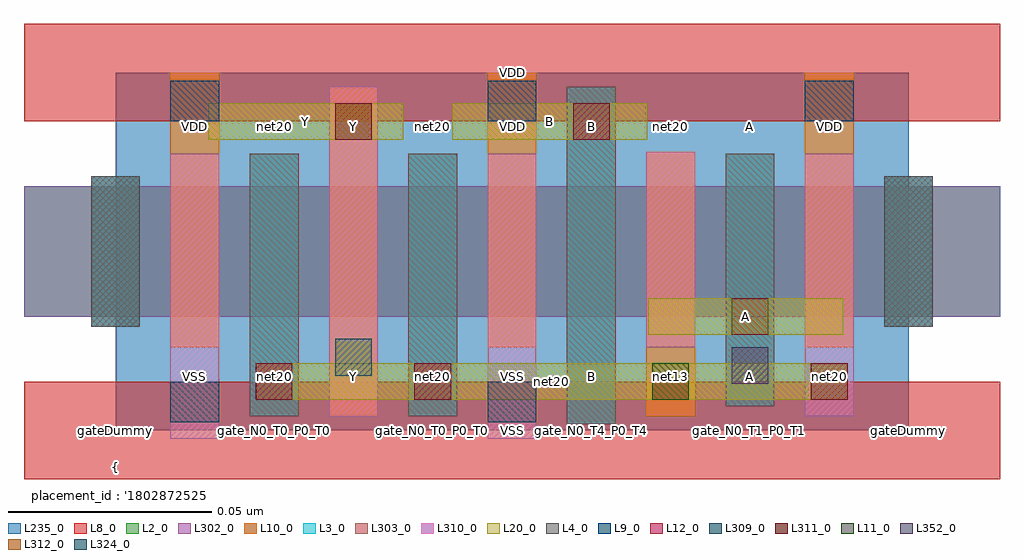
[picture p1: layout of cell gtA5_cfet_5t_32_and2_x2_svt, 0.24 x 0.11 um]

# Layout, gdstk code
import gdstk
lib = gdstk.Library(unit=1e-6, precision=2.5e-10)
def R(c, l, rs):  # rectangles x0, y0, x1, y1
    for r in rs: c.add(gdstk.rectangle(r[:2], r[2:], *l))
def A(c, l, x, y, w, h, nx, ny, dx, dy):  # array of equal rectangles
    R(c, l, [(x+i*dx, y+j*dy, x+i*dx+w, y+j*dy+h) for i in range(nx) for j in range(ny)])
L2_0 = (2, 0)
L3_0 = (3, 0)
L4_0 = (4, 0)
L8_0 = (8, 0)
L9_0 = (9, 0)
L10_0 = (10, 0)
L11_0 = (11, 0)
L12_0 = (12, 0)
L20_0 = (20, 0)
L235_0 = (235, 0)
L302_0 = (302, 0)
L303_0 = (303, 0)
L309_0 = (309, 0)
L310_0 = (310, 0)
L311_0 = (311, 0)
L312_0 = (312, 0)
L324_0 = (324, 0)
L352_0 = (352, 0)

gta5_cfet_5t_32_and2_x2_ = lib.new_cell('gtA5_cfet_5t_32_and2_x2_svt')
R(gta5_cfet_5t_32_and2_x2_, L2_0, [(-0.0225,0.028,0.2175,0.06)])
R(gta5_cfet_5t_32_and2_x2_, L3_0, [(0.111,0.0015,0.123,0.0845), (0.033,0.0035,0.045,0.068), (0.072,0.0035,0.084,0.068), (0.15,0.006,0.162,0.068), (-0.006,0.0255,0.006,0.0625), (0.189,0.0255,0.201,0.0625)])
R(gta5_cfet_5t_32_and2_x2_, L4_0, [(-0.006,0.0255,0.006,0.0625), (0.189,0.0255,0.201,0.0625)])
R(gta5_cfet_5t_32_and2_x2_, L8_0, [(-0.0225,-0.012,0.2175,0.012), (-0.0225,0.076,0.2175,0.1)])
A(gta5_cfet_5t_32_and2_x2_, L9_0, 0.0135, 0.076, 0.012, 0.01, 3, 1, 0.078, 0)
A(gta5_cfet_5t_32_and2_x2_, L10_0, 0.0135, 0.0205, 0.012, 0.0675, 3, 1, 0.078, 0)
R(gta5_cfet_5t_32_and2_x2_, L10_0, [(0.0525,0.0035,0.0645,0.0845), (0.1305,0.0035,0.1425,0.0685)])
R(gta5_cfet_5t_32_and2_x2_, L11_0, [(0.132,0.0075,0.141,0.0165)])
R(gta5_cfet_5t_32_and2_x2_, L12_0, [(0.0345,0.0075,0.0435,0.0165), (0.0735,0.0075,0.0825,0.0165), (0.1125,0.0715,0.1215,0.0805)])
R(gta5_cfet_5t_32_and2_x2_, L20_0, [(0.0345,0.0075,0.18,0.0165), (0.131,0.0235,0.179,0.0325), (0.0227,0.0715,0.0708,0.0805), (0.0828,0.0715,0.1308,0.0805)])
R(gta5_cfet_5t_32_and2_x2_, L235_0, [(0,0,0.195,0.088)])
R(gta5_cfet_5t_32_and2_x2_, L302_0, [(-0.0225,0.028,0.2175,0.06)])
R(gta5_cfet_5t_32_and2_x2_, L303_0, [(0.111,0.0015,0.123,0.0845), (0.033,0.0035,0.045,0.068), (0.072,0.0035,0.084,0.068), (0.15,0.006,0.162,0.068), (-0.006,0.0255,0.006,0.0625), (0.189,0.0255,0.201,0.0625)])
R(gta5_cfet_5t_32_and2_x2_, L309_0, [(0.0135,0.002,0.0255,0.012), (0.0915,0.002,0.1035,0.012)])
R(gta5_cfet_5t_32_and2_x2_, L310_0, [(0.0135,-0.002,0.0255,0.068), (0.0915,-0.002,0.1035,0.068), (0.0525,0.0035,0.0645,0.0845), (0.1695,0.0035,0.1815,0.068), (0.1305,0.0205,0.1425,0.0685)])
R(gta5_cfet_5t_32_and2_x2_, L311_0, [(0.171,0.0075,0.18,0.0165), (0.054,0.0715,0.063,0.0805)])
R(gta5_cfet_5t_32_and2_x2_, L312_0, [(0.1515,0.0235,0.1605,0.0325)])
R(gta5_cfet_5t_32_and2_x2_, L324_0, [(0.054,0.0135,0.063,0.0225)])
R(gta5_cfet_5t_32_and2_x2_, L352_0, [(0.1515,0.0115,0.1605,0.0205)])
gta5_cfet_5t_32_and2_x2_.add(gdstk.Label('net20', (0.1072,0.012), layer=100, texttype=100))
gta5_cfet_5t_32_and2_x2_.add(gdstk.Label('gateDummy', (0,0), layer=103, texttype=103))
gta5_cfet_5t_32_and2_x2_.add(gdstk.Label('sd_N0_VSS_P0_VDD', (0.0195,0), layer=103, texttype=103))
gta5_cfet_5t_32_and2_x2_.add(gdstk.Label('gate_N0_T0_P0_T0', (0.039,0), layer=103, texttype=103))
gta5_cfet_5t_32_and2_x2_.add(gdstk.Label('sd_N0_T4_P0_T4', (0.0585,0), layer=103, texttype=103))
gta5_cfet_5t_32_and2_x2_.add(gdstk.Label('gate_N0_T0_P0_T0', (0.078,0), layer=103, texttype=103))
gta5_cfet_5t_32_and2_x2_.add(gdstk.Label('sd_N0_VSS_P0_VDD', (0.0975,0), layer=103, texttype=103))
gta5_cfet_5t_32_and2_x2_.add(gdstk.Label('gate_N0_T4_P0_T4', (0.117,0), layer=103, texttype=103))
gta5_cfet_5t_32_and2_x2_.add(gdstk.Label('sd_N0_abut_P0_T0', (0.1365,0), layer=103, texttype=103))
gta5_cfet_5t_32_and2_x2_.add(gdstk.Label('gate_N0_T1_P0_T1', (0.156,0), layer=103, texttype=103))
gta5_cfet_5t_32_and2_x2_.add(gdstk.Label('sd_N0_T0_P0_VDD', (0.1755,0), layer=103, texttype=103))
gta5_cfet_5t_32_and2_x2_.add(gdstk.Label('gateDummy', (0.195,0), layer=103, texttype=103))
gta5_cfet_5t_32_and2_x2_.add(gdstk.Label('}', (0,-0.0963), layer=104, texttype=104))
gta5_cfet_5t_32_and2_x2_.add(gdstk.Label('  power : None', (0,-0.0875), layer=104, texttype=104))
gta5_cfet_5t_32_and2_x2_.add(gdstk.Label('  performance : None', (0,-0.0788), layer=104, texttype=104))
gta5_cfet_5t_32_and2_x2_.add(gdstk.Label("  solution_hash : '3988044988167875945'", (0,-0.07), layer=104, texttype=104))
gta5_cfet_5t_32_and2_x2_.add(gdstk.Label('  number_m2 : 0', (0,-0.0612), layer=104, texttype=104))
gta5_cfet_5t_32_and2_x2_.add(gdstk.Label('  number_m1 : 0', (0,-0.0525), layer=104, texttype=104))
gta5_cfet_5t_32_and2_x2_.add(gdstk.Label('  number_m0cuts : 0', (0,-0.0438), layer=104, texttype=104))
gta5_cfet_5t_32_and2_x2_.add(gdstk.Label('  number_m0 : 4', (0,-0.035), layer=104, texttype=104))
gta5_cfet_5t_32_and2_x2_.add(gdstk.Label("  solution_number : '0000'", (0,-0.0262), layer=104, texttype=104))
gta5_cfet_5t_32_and2_x2_.add(gdstk.Label("  placement_id : '18028725256931618539'", (0,-0.0175), layer=104, texttype=104))
gta5_cfet_5t_32_and2_x2_.add(gdstk.Label('{', (0,-0.0088), layer=104, texttype=104))
gta5_cfet_5t_32_and2_x2_.add(gdstk.Label('VSS', (0.0195,0.0132), layer=105, texttype=105))
gta5_cfet_5t_32_and2_x2_.add(gdstk.Label('net20', (0.039,0.0132), layer=105, texttype=105))
gta5_cfet_5t_32_and2_x2_.add(gdstk.Label('Y', (0.0585,0.0132), layer=105, texttype=105))
gta5_cfet_5t_32_and2_x2_.add(gdstk.Label('net20', (0.078,0.0132), layer=105, texttype=105))
gta5_cfet_5t_32_and2_x2_.add(gdstk.Label('VSS', (0.0975,0.0132), layer=105, texttype=105))
gta5_cfet_5t_32_and2_x2_.add(gdstk.Label('B', (0.117,0.0132), layer=105, texttype=105))
gta5_cfet_5t_32_and2_x2_.add(gdstk.Label('net13', (0.1365,0.0132), layer=105, texttype=105))
gta5_cfet_5t_32_and2_x2_.add(gdstk.Label('A', (0.156,0.0132), layer=105, texttype=105))
gta5_cfet_5t_32_and2_x2_.add(gdstk.Label('net20', (0.1755,0.0132), layer=105, texttype=105))
gta5_cfet_5t_32_and2_x2_.add(gdstk.Label('VDD', (0.0195,0.0747), layer=105, texttype=105))
gta5_cfet_5t_32_and2_x2_.add(gdstk.Label('net20', (0.039,0.0747), layer=105, texttype=105))
gta5_cfet_5t_32_and2_x2_.add(gdstk.Label('Y', (0.0585,0.0747), layer=105, texttype=105))
gta5_cfet_5t_32_and2_x2_.add(gdstk.Label('net20', (0.078,0.0747), layer=105, texttype=105))
gta5_cfet_5t_32_and2_x2_.add(gdstk.Label('VDD', (0.0975,0.0747), layer=105, texttype=105))
gta5_cfet_5t_32_and2_x2_.add(gdstk.Label('B', (0.117,0.0747), layer=105, texttype=105))
gta5_cfet_5t_32_and2_x2_.add(gdstk.Label('net20', (0.1365,0.0747), layer=105, texttype=105))
gta5_cfet_5t_32_and2_x2_.add(gdstk.Label('A', (0.156,0.0747), layer=105, texttype=105))
gta5_cfet_5t_32_and2_x2_.add(gdstk.Label('VDD', (0.1755,0.0747), layer=105, texttype=105))
gta5_cfet_5t_32_and2_x2_.add(gdstk.Label('VSS', (0.0975,0), layer=8, texttype=0))
gta5_cfet_5t_32_and2_x2_.add(gdstk.Label('VDD', (0.0975,0.088), layer=8, texttype=0))
gta5_cfet_5t_32_and2_x2_.add(gdstk.Label('A', (0.155,0.028), layer=20, texttype=251))
gta5_cfet_5t_32_and2_x2_.add(gdstk.Label('Y', (0.0467,0.076), layer=20, texttype=251))
gta5_cfet_5t_32_and2_x2_.add(gdstk.Label('B', (0.1067,0.076), layer=20, texttype=251))
gta5_cfet_5t_32_and2_x2_.add(gdstk.Label('gtA5_cfet_5t_32_and2_x2_rvt_0', (0,0), layer=235, texttype=0))

lib.write_gds('gtA5_cfet_5t_32_and2_x2_svt.gds')
